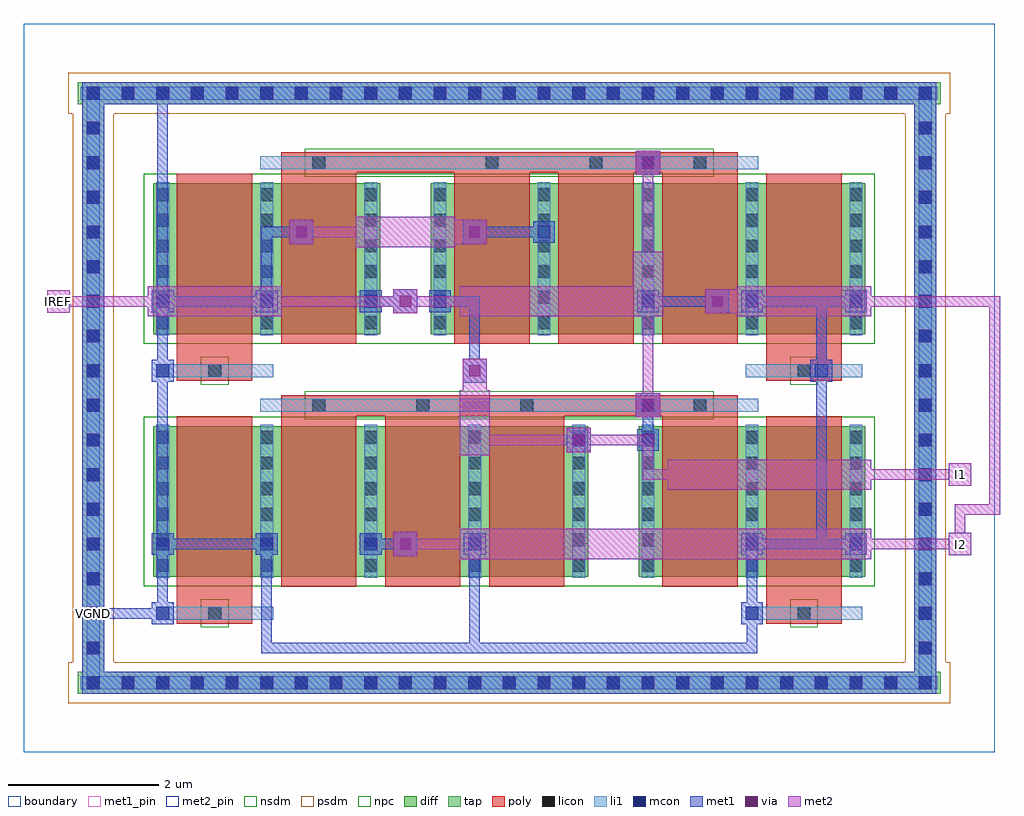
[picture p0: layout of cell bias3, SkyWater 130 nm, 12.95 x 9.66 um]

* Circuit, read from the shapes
.subckt bias3 I1 I2 IREF VGND
XM1 VGND VGND VGND VGND sky130_fd_pr__nfet_01v8 w=2 l=1 m=4
XM2 I2 IREF VGND VGND sky130_fd_pr__nfet_01v8 w=2 l=1 m=4
XM3 IREF IREF VGND VGND sky130_fd_pr__nfet_01v8 w=2 l=1 m=2
XM4 VGND IREF I1 VGND sky130_fd_pr__nfet_01v8 w=2 l=1 m=2
.ends

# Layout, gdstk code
import gdstk
lib = gdstk.Library(unit=1e-6, precision=1e-09)
def R(c, l, rs):  # rectangles x0, y0, x1, y1
    for r in rs: c.add(gdstk.rectangle(r[:2], r[2:], *l))
def A(c, l, x, y, w, h, nx, ny, dx, dy):  # array of equal rectangles
    R(c, l, [(x+i*dx, y+j*dy, x+i*dx+w, y+j*dy+h) for i in range(nx) for j in range(ny)])
diff = (65, 20)
tap = (65, 44)
poly = (66, 20)
licon = (66, 44)
li1 = (67, 20)
mcon = (67, 44)
met1_pin = (68, 16)
met1 = (68, 20)
via = (68, 44)
met2_pin = (69, 16)
met2 = (69, 20)
nsdm = (93, 44)
psdm = (94, 20)
npc = (95, 20)
boundary = (235, 4)

bias3 = lib.new_cell('bias3')
R(bias3, diff, [(1.715,2.325,7.485,4.325), (8.155,2.325,11.165,4.325), (1.715,5.545,4.725,7.545), (5.395,5.545,11.165,7.545)])
R(bias3, tap, [(0.715,0.775,12.165,1.065), (0.775,0.775,1.065,8.885), (11.815,0.775,12.105,8.885), (0.715,8.595,12.165,8.885)])
A(bias3, poly, 3.41, 2.195, 1, 2.405, 3, 1, 1.38, 0)
A(bias3, poly, 5.71, 5.415, 1, 2.405, 3, 1, 1.38, 0)
R(bias3, poly, [(2.03,1.705,3.03,1.975), (9.85,1.705,10.85,1.975), (2.03,1.84,3.03,4.455), (9.85,1.84,10.85,4.455), (8.47,2.195,9.47,4.6), (3.41,4.465,9.47,4.735), (2.03,4.925,3.03,5.195), (9.85,4.925,10.85,5.195), (2.03,5.06,3.03,7.675), (9.85,5.06,10.85,7.675), (3.41,5.415,4.41,7.82), (3.41,7.685,9.47,7.955)])
A(bias3, licon, 0.835, 0.835, 0.17, 0.17, 25, 2, 0.46, 7.82)
A(bias3, licon, 0.835, 1.295, 0.17, 0.17, 1, 16, 0, 0.46)
A(bias3, licon, 11.875, 1.295, 0.17, 0.17, 1, 16, 0, 0.46)
A(bias3, licon, 1.755, 2.39, 0.17, 0.17, 5, 6, 1.38, 0.34)
A(bias3, licon, 8.195, 2.39, 0.17, 0.17, 3, 6, 1.38, 0.34)
A(bias3, licon, 3.825, 4.515, 0.17, 0.17, 3, 1, 1.38, 0)
A(bias3, licon, 1.755, 5.61, 0.17, 0.17, 3, 6, 1.38, 0.34)
A(bias3, licon, 5.435, 5.61, 0.17, 0.17, 5, 6, 1.38, 0.34)
A(bias3, licon, 6.125, 7.735, 0.17, 0.17, 3, 1, 1.38, 0)
R(bias3, licon, [(2.445,1.755,2.615,1.925), (10.265,1.755,10.435,1.925), (8.885,4.515,9.055,4.685), (2.445,4.975,2.615,5.145), (10.265,4.975,10.435,5.145), (3.825,7.735,3.995,7.905)])
A(bias3, li1, 1.755, 2.31, 0.17, 2.03, 5, 1, 1.38, 0)
A(bias3, li1, 8.195, 2.31, 0.17, 2.03, 3, 1, 1.38, 0)
A(bias3, li1, 1.755, 5.53, 0.17, 2.03, 3, 1, 1.38, 0)
A(bias3, li1, 5.435, 5.53, 0.17, 2.03, 5, 1, 1.38, 0)
R(bias3, li1, [(0.755,0.835,12.125,1.005), (0.835,0.835,1.005,8.825), (11.875,0.835,12.045,8.825), (1.755,1.755,3.305,1.925), (9.575,1.755,11.125,1.925), (3.135,4.515,9.745,4.685), (1.755,4.975,3.305,5.145), (9.575,4.975,11.125,5.145), (3.135,7.735,9.745,7.905), (0.755,8.655,12.125,8.825)])
A(bias3, mcon, 0.835, 0.835, 0.17, 0.17, 25, 2, 0.46, 7.82)
A(bias3, mcon, 0.835, 1.295, 0.17, 0.17, 1, 16, 0, 0.46)
A(bias3, mcon, 11.875, 1.295, 0.17, 0.17, 1, 16, 0, 0.46)
A(bias3, mcon, 1.755, 2.675, 0.17, 0.17, 4, 1, 1.38, 0)
A(bias3, mcon, 1.755, 5.895, 0.17, 0.17, 3, 1, 1.38, 0)
A(bias3, mcon, 8.195, 5.895, 0.17, 0.17, 3, 1, 1.38, 0)
R(bias3, mcon, [(1.755,1.755,1.925,1.925), (9.575,1.755,9.745,1.925), (9.575,2.675,9.745,2.845), (10.955,2.675,11.125,2.845), (7.275,4.055,7.445,4.225), (8.195,4.055,8.365,4.225), (8.195,4.515,8.365,4.685), (1.755,4.975,1.925,5.145), (10.495,4.975,10.665,5.145), (5.435,5.895,5.605,6.065), (6.815,6.815,6.985,6.985), (8.195,7.735,8.365,7.905)])
R(bias3, met1_pin, [(0.85,1.77,0.99,1.91)])
A(bias3, met1, 1.695, 2.615, 0.29, 0.29, 4, 1, 1.38, 0)
A(bias3, met1, 1.695, 5.835, 0.29, 0.29, 3, 1, 1.38, 0)
A(bias3, met1, 8.135, 5.835, 0.29, 0.29, 3, 1, 1.38, 0)
R(bias3, met1, [(0.775,0.775,12.105,1.065), (0.775,0.775,1.065,8.885), (11.815,0.775,12.105,8.885), (3.15,1.31,3.29,2.83), (3.15,1.31,6.05,1.45), (5.91,1.31,6.05,2.83), (5.91,1.31,9.73,1.45), (9.59,1.31,9.73,1.91), (1.695,1.695,1.985,1.985), (9.515,1.695,9.805,1.985), (0.85,1.77,1.91,1.91), (0.85,1.77,0.99,1.91), (1.77,1.77,1.91,2.83), (9.59,1.77,9.73,2.83), (4.9,2.6,5.22,2.92), (9.515,2.615,9.805,2.905), (10.895,2.615,11.185,2.905), (1.77,2.69,3.29,2.83), (1.77,2.69,1.91,5.13), (4.53,2.69,5.13,2.83), (9.59,2.69,11.11,2.83), (10.51,2.69,10.65,5.13), (7.2,3.98,7.52,4.3), (7.215,3.995,7.505,4.285), (8.135,3.995,8.425,4.285), (8.21,4.07,8.35,4.67), (8.12,4.44,8.44,4.76), (8.135,4.455,8.425,4.745), (5.82,4.9,6.14,5.22), (1.695,4.915,1.985,5.205), (10.435,4.915,10.725,5.205), (1.77,4.99,1.91,6.05), (5.91,4.99,6.05,6.05), (10.51,4.99,10.65,6.05), (4.9,5.82,5.22,6.14), (9.04,5.82,9.36,6.14), (5.375,5.835,5.665,6.125), (1.77,5.91,3.29,6.05), (1.77,5.91,1.91,8.81), (3.15,5.91,3.29,6.97), (4.53,5.91,5.13,6.05), (5.45,5.91,6.05,6.05), (8.21,5.91,9.27,6.05), (9.59,5.91,10.65,6.05), (10.51,5.91,11.11,6.05), (3.52,6.74,3.84,7.06), (5.82,6.74,6.14,7.06), (6.755,6.755,7.045,7.045), (3.15,6.83,3.75,6.97), (5.91,6.83,6.97,6.97), (8.12,7.66,8.44,7.98), (8.135,7.675,8.425,7.965), (0.775,8.595,12.105,8.885), (1.77,8.67,1.91,8.81)])
R(bias3, via, [(4.985,2.685,5.135,2.835), (7.285,4.065,7.435,4.215), (8.205,4.525,8.355,4.675), (5.905,4.985,6.055,5.135), (4.985,5.905,5.135,6.055), (9.125,5.905,9.275,6.055), (3.605,6.825,3.755,6.975), (5.905,6.825,6.055,6.975), (8.205,7.745,8.355,7.895)])
R(bias3, met2_pin, [(12.27,2.61,12.57,2.91), (12.27,3.53,12.57,3.83), (0.31,5.83,0.61,6.13)])
R(bias3, met2, [(5.78,2.56,11.24,2.96), (4.9,2.6,5.22,2.92), (12.27,2.61,12.57,2.91), (4.99,2.69,6.05,2.83), (10.97,2.69,12.49,2.83), (12.35,2.69,12.49,2.83), (12.35,2.69,12.49,3.29), (12.35,3.15,12.95,3.29), (12.81,3.15,12.95,6.05), (8.54,3.48,11.24,3.88), (12.27,3.53,12.57,3.83), (8.21,3.61,8.35,4.21), (8.21,3.61,8.81,3.75), (10.97,3.61,12.49,3.75), (12.35,3.61,12.49,3.75), (5.78,3.94,6.18,4.8), (7.2,3.98,7.52,4.3), (5.91,4.07,7.43,4.21), (7.29,4.07,8.35,4.21), (8.12,4.44,8.44,4.76), (5.91,4.53,6.05,5.13), (8.21,4.53,8.35,6.05), (5.82,4.8,6.14,4.9), (5.82,4.9,6.14,5.22), (1.64,5.78,3.42,6.18), (5.78,5.78,8.48,6.18), (8.08,5.78,8.48,6.64), (9.46,5.78,11.24,6.18), (4.9,5.82,5.22,6.14), (9.04,5.82,9.36,6.14), (9.36,5.82,9.46,6.14), (0.31,5.83,0.61,6.13), (0.39,5.91,0.53,6.05), (0.39,5.91,1.91,6.05), (3.15,5.91,5.13,6.05), (4.99,5.91,6.05,6.05), (9.13,5.91,9.73,6.05), (10.97,5.91,12.95,6.05), (8.21,6.37,8.35,7.89), (4.4,6.7,5.72,7.1), (3.52,6.74,3.84,7.06), (5.72,6.74,5.82,7.06), (5.82,6.74,6.14,7.06), (3.61,6.83,4.67,6.97), (5.45,6.83,6.05,6.97), (8.12,7.66,8.44,7.98)])
R(bias3, nsdm, [(1.59,2.2,11.29,4.45), (1.59,5.42,11.29,7.67)])
R(bias3, psdm, [(0.59,0.65,12.29,1.19), (0.65,1.19,1.19,8.47), (11.69,1.19,12.23,8.47), (0.59,8.47,12.29,9.01)])
R(bias3, npc, [(2.345,1.655,2.715,2.025), (10.165,1.655,10.535,2.025), (3.725,4.415,9.155,4.785), (2.345,4.875,2.715,5.245), (10.165,4.875,10.535,5.245), (3.725,7.635,9.155,8.005)])
R(bias3, boundary, [(0,0,12.88,9.66)])
bias3.add(gdstk.Label('VGND', (0.92,1.84), layer=68, texttype=5))
bias3.add(gdstk.Label('IREF', (0.46,5.98), layer=69, texttype=5))
bias3.add(gdstk.Label('I1', (12.42,3.68), layer=69, texttype=5))
bias3.add(gdstk.Label('I2', (12.42,2.76), layer=69, texttype=5))
bias3.add(gdstk.Label('VGND', (0.92,1.84), layer=68, texttype=16))
bias3.add(gdstk.Label('IREF', (0.46,5.98), layer=69, texttype=16))
bias3.add(gdstk.Label('I1', (12.42,3.68), layer=69, texttype=16))
bias3.add(gdstk.Label('I2', (12.42,2.76), layer=69, texttype=16))

lib.write_gds('bias3.gds')
